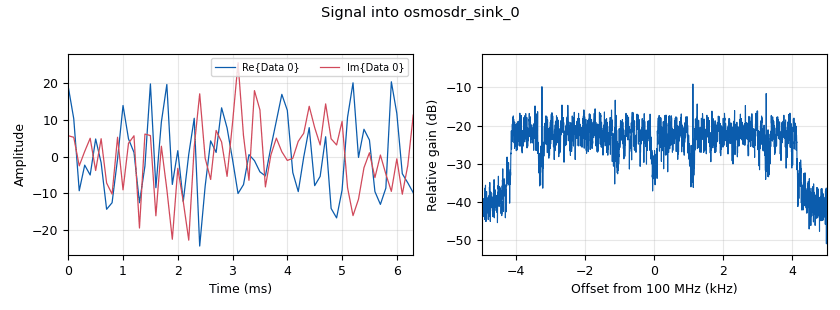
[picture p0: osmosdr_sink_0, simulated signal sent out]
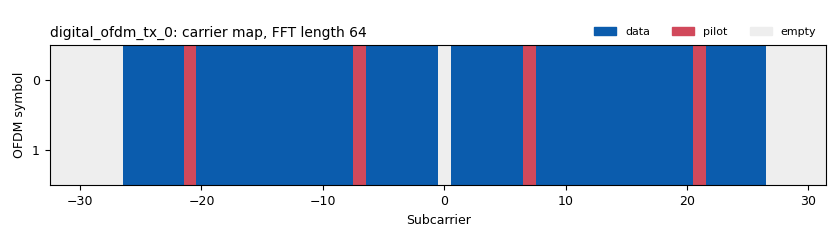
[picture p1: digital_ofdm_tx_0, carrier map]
<?xml version='1.0' encoding='utf-8'?>
<?grc format='1' created='3.7.9'?>
<flow_graph>
<block>
<key>options</key>
<param><key>id</key><value>top_block</value></param>
<param><key>category</key><value>Custom</value></param>
<param><key>generate_options</key><value>qt_gui</value></param>
</block>
<block>
<key>variable</key>
<param><key>id</key><value>fft_len</value></param>
<param><key>value</key><value>64</value></param>
</block>
<block>
<key>variable</key>
<param><key>id</key><value>occupied_carriers</value></param>
<param><key>value</key><value>(range(-26, -21) + range(-20, -7) + range(-6, 0) + range(1, 7) + range(8, 21) + range(22, 27),)</value></param>
</block>
<block>
<key>variable</key>
<param><key>id</key><value>packet_len</value></param>
<param><key>value</key><value>96</value></param>
</block>
<block>
<key>variable</key>
<param><key>id</key><value>pilot_carriers</value></param>
<param><key>value</key><value>((-21, -7, 7, 21,),)</value></param>
</block>
<block>
<key>variable</key>
<param><key>id</key><value>pilot_symbols</value></param>
<param><key>value</key><value>((1, 1, 1, -1,),)</value></param>
</block>
<block>
<key>variable</key>
<param><key>id</key><value>samp_rate</value></param>
<param><key>value</key><value>10000</value></param>
</block>
<block>
<key>variable</key>
<param><key>id</key><value>sync_word1</value></param>
<param><key>value</key><value>[0., 0., 0., 0., 0., 0., 0., 1.41421356, 0., -1.41421356, 0., 1.41421356, 0., -1.41421356, 0., -1.41421356, 0., -1.41421356, 0., 1.41421356, 0., -1.41421356, 0., 1.41421356, 0., -1.41421356, 0., -1.41421356, 0., -1.41421356, 0., -1.41421356, 0., 1.41421356, 0., -1.41421356, 0., 1.41421356, 0., 1.41421356, 0., 1.41421356, 0., -1.41421356, 0., 1.41421356, 0., 1.41421356, 0., 1.41421356, 0., -1.41421356, 0., 1.41421356, 0., 1.41421356, 0., 1.41421356, 0., 0., 0., 0., 0., 0.]</value></param>
</block>
<block>
<key>variable</key>
<param><key>id</key><value>sync_word2</value></param>
<param><key>value</key><value>[0j, 0j, 0j, 0j, 0j, 0j, (-1+0j), (-1+0j), (-1+0j), (-1+0j), (1+0j), (1+0j), (-1+0j), (-1+0j), (-1+0j), (1+0j), (-1+0j), (1+0j), (1+0j), (1 +0j), (1+0j), (1+0j), (-1+0j), (-1+0j), (-1+0j), (-1+0j), (-1+0j), (1+0j), (-1+0j), (-1+0j), (1+0j), (-1+0j), 0j, (1+0j), (-1+0j), (1+0j), (1+0j), (1+0j), (-1+0j), (1+0j), (1+0j), (1+0j), (-1+0j), (1+0j), (1+0j), (1+0j), (1+0j), (-1+0j), (1+0j), (-1+0j), (-1+0j), (-1+0j), (1+0j), (-1+0j), (1+0j), (-1+0j), (-1+0j), (-1+0j), (-1+0j), 0j, 0j, 0j, 0j, 0j]</value></param>
</block>
<block>
<key>analog_random_source_x</key>
<param><key>id</key><value>analog_random_source_x_0</value></param>
<param><key>max</key><value>255</value></param>
<param><key>min</key><value>0</value></param>
<param><key>num_samps</key><value>1000</value></param>
<param><key>type</key><value>byte</value></param>
<param><key>repeat</key><value>True</value></param>
</block>
<block>
<key>blocks_stream_to_tagged_stream</key>
<param><key>id</key><value>blocks_stream_to_tagged_stream_0</value></param>
<param><key>len_tag_key</key><value>packet_length_tag_key</value></param>
<param><key>packet_len</key><value>packet_len</value></param>
<param><key>type</key><value>byte</value></param>
</block>
<block>
<key>digital_ofdm_tx</key>
<param><key>id</key><value>digital_ofdm_tx_0</value></param>
<param><key>cp_len</key><value>fft_len/4</value></param>
<param><key>fft_len</key><value>fft_len</value></param>
<param><key>header_mod</key><value>"BPSK"</value></param>
<param><key>packet_len_key</key><value>packet_length_tag_key</value></param>
<param><key>log</key><value>True</value></param>
<param><key>occupied_carriers</key><value>occupied_carriers</value></param>
<param><key>payload_mod</key><value>"QPSK"</value></param>
<param><key>pilot_carriers</key><value>pilot_carriers</value></param>
<param><key>pilot_symbols</key><value>pilot_symbols</value></param>
<param><key>rolloff</key><value>0</value></param>
<param><key>sync_word1</key><value>sync_word1</value></param>
<param><key>sync_word2</key><value>sync_word2</value></param>
</block>
<block>
<key>osmosdr_sink</key>
<param><key>id</key><value>osmosdr_sink_0</value></param>
<param><key>bb_gain0</key><value>20</value></param>
<param><key>freq0</key><value>100e6</value></param>
<param><key>if_gain0</key><value>20</value></param>
<param><key>gain0</key><value>10</value></param>
<param><key>args</key><value>hackrf=2a37a453</value></param>
<param><key>type</key><value>fc32</value></param>
<param><key>sample_rate</key><value>samp_rate</value></param>
<param><key>sync</key><value></value></param>
</block>
<connection><source_block_id>analog_random_source_x_0</source_block_id><sink_block_id>blocks_stream_to_tagged_stream_0</sink_block_id><source_key>0</source_key><sink_key>0</sink_key></connection>
<connection><source_block_id>blocks_stream_to_tagged_stream_0</source_block_id><sink_block_id>digital_ofdm_tx_0</sink_block_id><source_key>0</source_key><sink_key>0</sink_key></connection>
<connection><source_block_id>digital_ofdm_tx_0</source_block_id><sink_block_id>osmosdr_sink_0</sink_block_id><source_key>0</source_key><sink_key>0</sink_key></connection>
</flow_graph>
